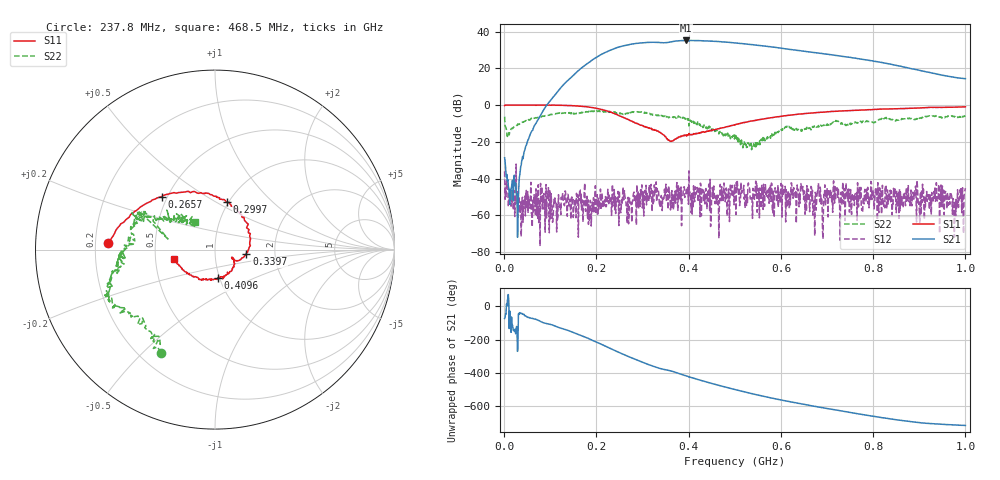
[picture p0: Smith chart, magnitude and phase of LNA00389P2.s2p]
! Created with skrf 1.9.0 (http://scikit-rf.org).
# Hz S RI R 50.0
!freq ReS11 ImS11 ReS21 ImS21 ReS12 ImS12 ReS22 ImS22
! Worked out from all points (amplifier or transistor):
!   1001 points, 1 MHz to 1 GHz, reference 50 ohm
!   highest |S21| = 35.2 dB at 394.6 MHz (marker M1)
!   |S21| within 3 dB of that: 257.1 MHz to 562.8 MHz (305.7 MHz wide, 74.6 % of centre)
!   unconditionally stable (mu >= 1): 238.8 MHz to 287.7 MHz; 329.7 MHz to 400.5 MHz; 400.7 MHz to end of sweep (the widest 3 of 43)
!   at 166.8 MHz: K = 0.91, MSG = 34.0 dB, |S12| = -48.0 dB
!   at 500.5 MHz: K = 1.93, MAG = 34.4 dB, |S12| = -45.8 dB
!   at 1 GHz: K = 2.23, MAG = 23.6 dB, |S12| = -45.3 dB
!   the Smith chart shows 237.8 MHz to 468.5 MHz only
!   S11 on the Smith chart (normalised r, x): 237.8 MHz: 0.25, +0.03; 265.7 MHz: 0.47, +0.33; 299.7 MHz: 0.98, +0.56; 339.7 MHz: 1.42, -0.07; 409.6 MHz: 0.98, -0.32; 468.5 MHz: 0.62, -0.07
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1000000  0.971 0.00774  0.0105 -0.0352  -0.00391 0.0153  0.3727 0.3109
1.08892e8  0.5302 -0.8427  -0.8375 -1.609  0.00212 9.55e-05  0.4335 -0.3694
1.67833e8  -0.2142 -0.9038  -10.33 -0.569  -0.00118 -0.000752  0.0354 -0.6355
2.07793e8  -0.6382 -0.4409  -16.27 16.21  -0.000906 -0.00217  -0.1936 -0.6637
2.37763e8  -0.594 0.0343  -3.947 34.18  -0.000594 -0.00281  -0.3012 -0.5755
2.65735e8  -0.2972 0.2956  20.18 37.97  3.83e-06 -0.0019  -0.4686 -0.3755
2.99701e8  0.0656 0.2644  45.83 20  -0.00152 0.000438  -0.5921 -0.2386
3.18682e8  0.1857 0.1417  51.51 3.604  -0.00231 0.00651  -0.544 -0.1119
3.34666e8  0.1916 0.0148  50.04 -9.988  -0.00444 -0.000501  -0.5339 -0.0303
3.39661e8  0.1745 -0.0254  48.62 -13.27  -0.00247 0.00114  -0.5151 -0.00625
3.7063e8  0.1049 -0.0536  44.6 -33  0.000357 0.00453  -0.4452 0.1466
3.94606e8  0.0742 -0.1353  29.99 -49.4  0.00157 0.00438  -0.3893 0.2118
4.09591e8  0.0176 -0.1593  18.38 -54.59  -0.000717 0.00139  -0.3125 0.1876
4.37563e8  -0.116 -0.1522  -4.527 -55.97  0.0029 0.00447  -0.1822 0.1503
4.68532e8  -0.2291 -0.0528  -25.21 -47.21  0.00589 0.0036  -0.1103 0.1551
5.005e8  -0.2678 0.1028  -38.77 -31.37  -0.00103 -0.00501  -0.1267 0.083
5.39461e8  -0.2225 0.3017  -43.06 -9.926  0.00521 -0.00139  -0.0894 -0.00651
5.85415e8  -0.0571 0.4635  -36.48 9.775  -4.93e-05 0.00087  -0.1512 -0.0592
6.67333e8  0.3134 0.5235  -14.28 23.41  -0.00232 -0.000662  -0.2537 -0.0295
7.55245e8  0.615 0.3693  3.593 19.1  -0.00282 -0.00102  -0.3246 0.0414
8.34166e8  0.7701 0.1568  9.509 9.288  0.000359 -0.00377  -0.4189 0.0642
1e9  0.8227 -0.3592  5.252 0.346  -0.00404 0.00365  -0.2604 0.4264
